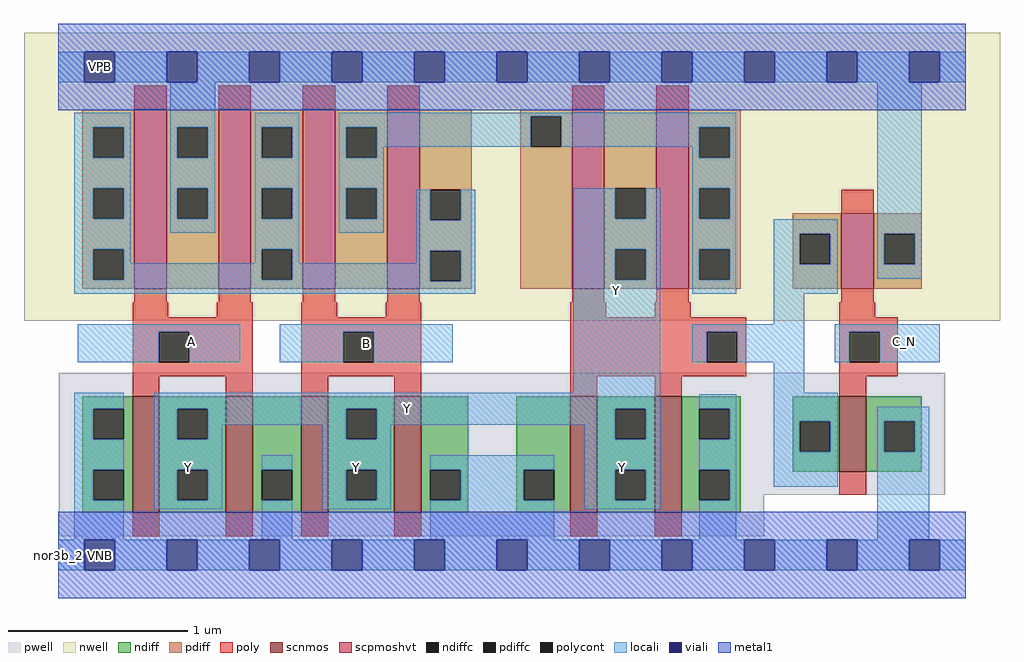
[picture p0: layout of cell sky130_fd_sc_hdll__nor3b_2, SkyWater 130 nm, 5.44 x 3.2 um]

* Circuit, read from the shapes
.subckt sky130_fd_sc_hdll__nor3b_2 A B C_N VGND VNB VPB VPWR Y
XM1 Y A VGND VNB sky130_fd_pr__nfet_01v8 w=0.65 l=0.15 m=2
XM2 Y B VGND VNB sky130_fd_pr__nfet_01v8 w=0.65 l=0.15 m=2
XM3 Y n1 VGND VNB sky130_fd_pr__nfet_01v8 w=0.65 l=0.15 m=2
XM4 VGND C_N n1 VNB sky130_fd_pr__nfet_01v8 w=0.42 l=0.15
XM5 VPWR A n2 VPB sky130_fd_pr__pfet_01v8_hvt w=1 l=0.18 m=2
XM6 n3 B n2 VPB sky130_fd_pr__pfet_01v8_hvt w=1 l=0.18 m=2
XM7 Y n1 n3 VPB sky130_fd_pr__pfet_01v8_hvt w=1 l=0.18 m=2
XM8 VPWR C_N n1 VPB sky130_fd_pr__pfet_01v8_hvt w=0.42 l=0.18
.ends

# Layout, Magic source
magic
tech sky130A
magscale 1 2
<< nwell >>
rect -38 261 1050 582
<< pwell >>
rect 1 67 989 203
rect 1 21 787 67
rect 30 -17 64 21
<< scnmos >>
rect 83 47 113 177
rect 187 47 217 177
rect 271 47 301 177
rect 375 47 405 177
rect 571 47 601 177
rect 665 47 695 177
rect 871 93 901 177
<< scpmoshvt >>
rect 85 297 121 497
rect 179 297 215 497
rect 273 297 309 497
rect 367 297 403 497
rect 573 297 609 497
rect 667 297 703 497
rect 873 297 909 381
<< ndiff >>
rect 27 163 83 177
rect 27 129 39 163
rect 73 129 83 163
rect 27 95 83 129
rect 27 61 39 95
rect 73 61 83 95
rect 27 47 83 61
rect 113 163 187 177
rect 113 129 133 163
rect 167 129 187 163
rect 113 95 187 129
rect 113 61 133 95
rect 167 61 187 95
rect 113 47 187 61
rect 217 95 271 177
rect 217 61 227 95
rect 261 61 271 95
rect 217 47 271 61
rect 301 163 375 177
rect 301 129 321 163
rect 355 129 375 163
rect 301 95 375 129
rect 301 61 321 95
rect 355 61 375 95
rect 301 47 375 61
rect 405 95 457 177
rect 405 61 415 95
rect 449 61 457 95
rect 405 47 457 61
rect 511 95 571 177
rect 511 61 519 95
rect 553 61 571 95
rect 511 47 571 61
rect 601 163 665 177
rect 601 129 621 163
rect 655 129 665 163
rect 601 95 665 129
rect 601 61 621 95
rect 655 61 665 95
rect 601 47 665 61
rect 695 163 761 177
rect 695 129 715 163
rect 749 129 761 163
rect 695 95 761 129
rect 695 61 715 95
rect 749 61 761 95
rect 819 149 871 177
rect 819 115 827 149
rect 861 115 871 149
rect 819 93 871 115
rect 901 149 963 177
rect 901 115 921 149
rect 955 115 963 149
rect 901 93 963 115
rect 695 47 761 61
<< pdiff >>
rect 27 477 85 497
rect 27 443 39 477
rect 73 443 85 477
rect 27 409 85 443
rect 27 375 39 409
rect 73 375 85 409
rect 27 341 85 375
rect 27 307 39 341
rect 73 307 85 341
rect 27 297 85 307
rect 121 477 179 497
rect 121 443 133 477
rect 167 443 179 477
rect 121 409 179 443
rect 121 375 133 409
rect 167 375 179 409
rect 121 297 179 375
rect 215 477 273 497
rect 215 443 227 477
rect 261 443 273 477
rect 215 409 273 443
rect 215 375 227 409
rect 261 375 273 409
rect 215 341 273 375
rect 215 307 227 341
rect 261 307 273 341
rect 215 297 273 307
rect 309 477 367 497
rect 309 443 321 477
rect 355 443 367 477
rect 309 409 367 443
rect 309 375 321 409
rect 355 375 367 409
rect 309 297 367 375
rect 403 407 461 497
rect 403 373 415 407
rect 449 373 461 407
rect 403 339 461 373
rect 403 305 415 339
rect 449 305 461 339
rect 403 297 461 305
rect 515 489 573 497
rect 515 455 527 489
rect 561 455 573 489
rect 515 297 573 455
rect 609 409 667 497
rect 609 375 621 409
rect 655 375 667 409
rect 609 341 667 375
rect 609 307 621 341
rect 655 307 667 341
rect 609 297 667 307
rect 703 477 761 497
rect 703 443 715 477
rect 749 443 761 477
rect 703 409 761 443
rect 703 375 715 409
rect 749 375 761 409
rect 703 341 761 375
rect 703 307 715 341
rect 749 307 761 341
rect 703 297 761 307
rect 819 358 873 381
rect 819 324 827 358
rect 861 324 873 358
rect 819 297 873 324
rect 909 358 963 381
rect 909 324 921 358
rect 955 324 963 358
rect 909 297 963 324
<< ndiffc >>
rect 39 129 73 163
rect 39 61 73 95
rect 133 129 167 163
rect 133 61 167 95
rect 227 61 261 95
rect 321 129 355 163
rect 321 61 355 95
rect 415 61 449 95
rect 519 61 553 95
rect 621 129 655 163
rect 621 61 655 95
rect 715 129 749 163
rect 715 61 749 95
rect 827 115 861 149
rect 921 115 955 149
<< pdiffc >>
rect 39 443 73 477
rect 39 375 73 409
rect 39 307 73 341
rect 133 443 167 477
rect 133 375 167 409
rect 227 443 261 477
rect 227 375 261 409
rect 227 307 261 341
rect 321 443 355 477
rect 321 375 355 409
rect 415 373 449 407
rect 415 305 449 339
rect 527 455 561 489
rect 621 375 655 409
rect 621 307 655 341
rect 715 443 749 477
rect 715 375 749 409
rect 715 307 749 341
rect 827 324 861 358
rect 921 324 955 358
<< poly >>
rect 85 497 121 523
rect 179 497 215 523
rect 273 497 309 523
rect 367 497 403 523
rect 573 497 609 523
rect 667 497 703 523
rect 873 381 909 407
rect 85 282 121 297
rect 179 282 215 297
rect 273 282 309 297
rect 367 282 403 297
rect 573 282 609 297
rect 667 282 703 297
rect 873 282 909 297
rect 83 265 123 282
rect 177 265 217 282
rect 83 249 217 265
rect 83 215 112 249
rect 146 215 217 249
rect 83 199 217 215
rect 83 177 113 199
rect 187 177 217 199
rect 271 265 311 282
rect 365 265 405 282
rect 271 249 405 265
rect 271 215 318 249
rect 352 215 405 249
rect 271 199 405 215
rect 271 177 301 199
rect 375 177 405 199
rect 571 265 611 282
rect 665 265 705 282
rect 871 265 911 282
rect 571 249 767 265
rect 571 215 723 249
rect 757 215 767 249
rect 571 199 767 215
rect 871 249 936 265
rect 871 215 882 249
rect 916 215 936 249
rect 871 199 936 215
rect 571 177 601 199
rect 665 177 695 199
rect 871 177 901 199
rect 871 67 901 93
rect 83 21 113 47
rect 187 21 217 47
rect 271 21 301 47
rect 375 21 405 47
rect 571 21 601 47
rect 665 21 695 47
<< polycont >>
rect 112 215 146 249
rect 318 215 352 249
rect 723 215 757 249
rect 882 215 916 249
<< locali >>
rect 0 527 29 561
rect 63 527 121 561
rect 155 527 213 561
rect 247 527 305 561
rect 339 527 397 561
rect 431 527 489 561
rect 523 527 581 561
rect 615 527 673 561
rect 707 527 765 561
rect 799 527 857 561
rect 891 527 949 561
rect 983 527 1012 561
rect 18 477 81 493
rect 18 443 39 477
rect 73 443 81 477
rect 18 409 81 443
rect 18 375 39 409
rect 73 375 81 409
rect 18 341 81 375
rect 125 477 175 527
rect 125 443 133 477
rect 167 443 175 477
rect 125 409 175 443
rect 125 375 133 409
rect 167 375 175 409
rect 125 359 175 375
rect 219 477 269 493
rect 219 443 227 477
rect 261 443 269 477
rect 219 409 269 443
rect 219 375 227 409
rect 261 375 269 409
rect 18 307 39 341
rect 73 325 81 341
rect 219 341 269 375
rect 313 489 756 493
rect 313 477 527 489
rect 313 443 321 477
rect 355 455 527 477
rect 561 477 756 489
rect 561 455 715 477
rect 355 443 363 455
rect 313 409 363 443
rect 707 443 715 455
rect 749 443 756 477
rect 707 409 756 443
rect 313 375 321 409
rect 355 375 363 409
rect 313 359 363 375
rect 399 373 415 407
rect 449 373 465 407
rect 219 325 227 341
rect 73 307 227 325
rect 261 325 269 341
rect 399 339 465 373
rect 399 325 415 339
rect 261 307 415 325
rect 18 305 415 307
rect 449 305 465 339
rect 18 291 465 305
rect 574 375 621 409
rect 655 375 671 409
rect 574 341 671 375
rect 574 307 621 341
rect 655 307 671 341
rect 22 249 203 257
rect 22 215 112 249
rect 146 215 203 249
rect 247 249 440 257
rect 247 215 318 249
rect 352 215 440 249
rect 574 181 671 307
rect 707 375 715 409
rect 749 375 756 409
rect 707 341 756 375
rect 707 307 715 341
rect 749 307 756 341
rect 707 291 756 307
rect 798 358 869 374
rect 798 324 827 358
rect 861 324 869 358
rect 798 291 869 324
rect 913 358 963 527
rect 913 324 921 358
rect 955 324 963 358
rect 913 308 963 324
rect 798 257 832 291
rect 707 249 832 257
rect 707 215 723 249
rect 757 215 832 249
rect 866 249 983 257
rect 866 215 882 249
rect 916 215 983 249
rect 18 163 73 181
rect 18 129 39 163
rect 18 95 73 129
rect 18 61 39 95
rect 18 17 73 61
rect 107 163 671 181
rect 798 181 832 215
rect 107 129 133 163
rect 167 145 321 163
rect 167 129 183 145
rect 107 95 183 129
rect 295 129 321 145
rect 355 145 621 163
rect 355 129 371 145
rect 107 61 133 95
rect 167 61 183 95
rect 107 51 183 61
rect 227 95 261 111
rect 227 17 261 61
rect 295 95 371 129
rect 587 129 621 145
rect 655 129 671 163
rect 295 61 321 95
rect 355 61 371 95
rect 295 51 371 61
rect 415 95 553 111
rect 449 61 519 95
rect 415 17 553 61
rect 587 95 671 129
rect 587 61 621 95
rect 655 61 671 95
rect 587 51 671 61
rect 715 163 756 179
rect 749 129 756 163
rect 715 95 756 129
rect 749 61 756 95
rect 798 149 869 181
rect 798 115 827 149
rect 861 115 869 149
rect 798 76 869 115
rect 913 149 971 165
rect 913 115 921 149
rect 955 115 971 149
rect 715 17 756 61
rect 913 17 971 115
rect 0 -17 29 17
rect 63 -17 121 17
rect 155 -17 213 17
rect 247 -17 305 17
rect 339 -17 397 17
rect 431 -17 489 17
rect 523 -17 581 17
rect 615 -17 673 17
rect 707 -17 765 17
rect 799 -17 857 17
rect 891 -17 949 17
rect 983 -17 1012 17
<< viali >>
rect 29 527 63 561
rect 121 527 155 561
rect 213 527 247 561
rect 305 527 339 561
rect 397 527 431 561
rect 489 527 523 561
rect 581 527 615 561
rect 673 527 707 561
rect 765 527 799 561
rect 857 527 891 561
rect 949 527 983 561
rect 29 -17 63 17
rect 121 -17 155 17
rect 213 -17 247 17
rect 305 -17 339 17
rect 397 -17 431 17
rect 489 -17 523 17
rect 581 -17 615 17
rect 673 -17 707 17
rect 765 -17 799 17
rect 857 -17 891 17
rect 949 -17 983 17
<< metal1 >>
rect 0 561 1012 592
rect 0 527 29 561
rect 63 527 121 561
rect 155 527 213 561
rect 247 527 305 561
rect 339 527 397 561
rect 431 527 489 561
rect 523 527 581 561
rect 615 527 673 561
rect 707 527 765 561
rect 799 527 857 561
rect 891 527 949 561
rect 983 527 1012 561
rect 0 496 1012 527
rect 0 17 1012 48
rect 0 -17 29 17
rect 63 -17 121 17
rect 155 -17 213 17
rect 247 -17 305 17
rect 339 -17 397 17
rect 431 -17 489 17
rect 523 -17 581 17
rect 615 -17 673 17
rect 707 -17 765 17
rect 799 -17 857 17
rect 891 -17 949 17
rect 983 -17 1012 17
rect 0 -48 1012 -17
<< labels >>
flabel locali s 927 221 961 255 0 FreeSans 400 0 0 0 C_N
port 3 nsew signal input
flabel locali s 587 51 671 145 0 FreeSans 400 0 0 0 Y
port 8 nsew signal output
flabel locali s 132 221 166 255 0 FreeSans 400 0 0 0 A
port 1 nsew signal input
flabel locali s 247 215 440 257 0 FreeSans 400 0 0 0 B
port 2 nsew signal input
flabel nwell s 30 527 64 561 0 FreeSans 200 0 0 0 VPB
port 6 nsew power bidirectional
flabel pwell s 30 -17 64 17 0 FreeSans 200 0 0 0 VNB
port 5 nsew ground bidirectional
flabel metal1 s 30 -17 64 17 0 FreeSans 200 0 0 0 VGND
port 4 nsew ground bidirectional
flabel metal1 s 30 527 64 561 0 FreeSans 200 0 0 0 VPWR
port 7 nsew power bidirectional
rlabel comment s 0 0 0 0 4 nor3b_2
rlabel locali s 574 181 671 409 1 Y
port 8 nsew signal output
rlabel locali s 295 51 371 145 1 Y
port 8 nsew signal output
rlabel locali s 107 145 671 181 1 Y
port 8 nsew signal output
rlabel locali s 107 51 183 145 1 Y
port 8 nsew signal output
<< properties >>
string LEFsite unithd
string LEFclass CORE
string FIXED_BBOX 0 0 1012 544
string GDS_FILE $PDKPATH/libs.ref/sky130_fd_sc_hdll/gds/sky130_fd_sc_hdll.gds
string LEFsymmetry X Y R90
string GDS_END 84682
string GDS_START 76882
string LEFproperties maskLayoutSubType "abstract" prCellType "standard" originalViewName "layout"
<< end >>
